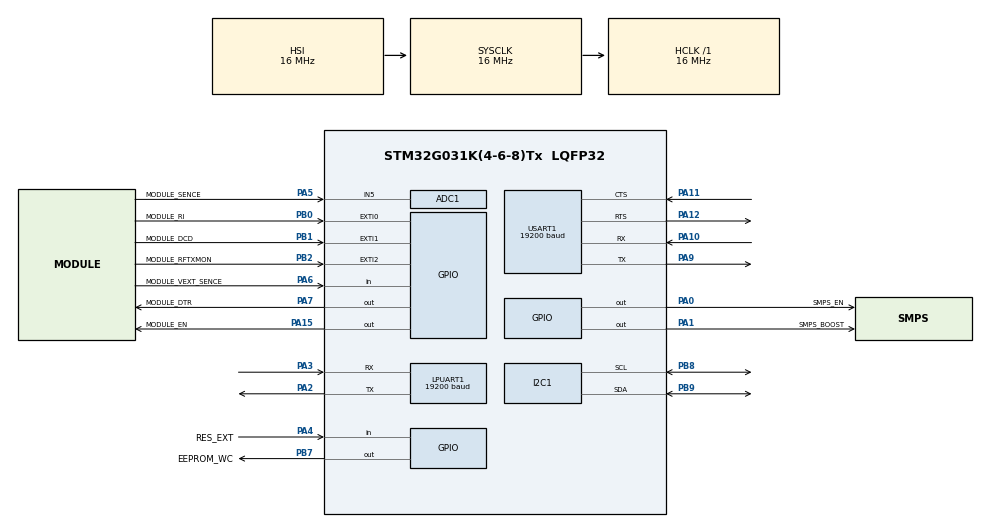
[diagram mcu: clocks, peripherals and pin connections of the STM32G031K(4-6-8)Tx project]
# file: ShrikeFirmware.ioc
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ADC1.Channel-0\#ChannelRegularConversion=ADC_CHANNEL_5
ADC1.EnableAnalogWatchDog1=false
ADC1.NbrOfConversionFlag=1
ADC1.Rank-0\#ChannelRegularConversion=1
ADC1.Resolution=ADC_RESOLUTION_8B
ADC1.SamplingTime-0\#ChannelRegularConversion=ADC_SAMPLINGTIME_COMMON_1
ADC1.SelectedChannel=ADC_CHANNEL_5
ADC1.master=1
LPUART1.BaudRate=19200
LPUART1.WordLength=UART_WORDLENGTH_8B
Mcu.Family=STM32G0
Mcu.Name=STM32G031K(4-6-8)Tx
Mcu.Package=LQFP32
NVIC.EXTI0_1_IRQn=true\:0\:0\:false\:false\:true\:true\:true
NVIC.EXTI2_3_IRQn=true\:0\:0\:false\:false\:true\:true\:true
NVIC.LPTIM1_IRQn=true\:0\:0\:false\:false\:true\:true\:true
NVIC.LPUART1_IRQn=true\:0\:0\:false\:false\:true\:true\:true
NVIC.USART1_IRQn=true\:0\:0\:false\:false\:true\:true\:true
PA0.GPIO_Label=SMPS_EN
PA0.Signal=GPIO_Output
PA1.GPIO_Label=SMPS_BOOST
PA1.Signal=GPIO_Output
PA10.Mode=Asynchronous
PA10.Signal=USART1_RX
PA11\ [PA9].Mode=CTS_RTS
PA11\ [PA9].Signal=USART1_CTS
PA12\ [PA10].Mode=CTS_RTS
PA12\ [PA10].Signal=USART1_RTS
PA13.Mode=Serial_Wire
PA13.Signal=SYS_SWDIO
PA14-BOOT0.Mode=Serial_Wire
PA14-BOOT0.Signal=SYS_SWCLK
PA15.GPIO_Label=MODULE_EN
PA15.Signal=GPIO_Output
PA2.Mode=Asynchronous
PA2.Signal=LPUART1_TX
PA3.Mode=Asynchronous
PA3.Signal=LPUART1_RX
PA4.GPIO_Label=RES_EXT
PA4.Signal=GPIO_Input
PA5.GPIO_Label=MODULE_SENCE
PA5.Mode=IN5
PA5.Signal=ADC1_IN5
PA6.GPIO_Label=MODULE_VEXT_SENCE
PA6.Signal=GPIO_Input
PA7.GPIO_Label=MODULE_DTR
PA7.Signal=GPIO_Output
PA9.Mode=Asynchronous
PA9.Signal=USART1_TX
PB0.GPIO_Label=MODULE_RI
PB0.Signal=GPXTI0
PB1.GPIO_Label=MODULE_DCD
PB1.Signal=GPXTI1
PB2.GPIO_Label=MODULE_RFTXMON
PB2.Signal=GPXTI2
PB5.GPIO_Label=WKUP
PB5.Mode=SYS_WakeUp6
PB5.Signal=SYS_WKUP6
PB7.GPIO_Label=EEPROM_WC
PB7.GPIO_ModeDefaultOutputPP=GPIO_MODE_OUTPUT_OD
PB7.Signal=GPIO_Output
PB8.Mode=I2C
PB8.Signal=I2C1_SCL
PB9.Mode=I2C
PB9.Signal=I2C1_SDA
ProjectManager.HeapSize=0x200
ProjectManager.StackSize=0x400
ProjectManager.TargetToolchain=STM32CubeIDE
RCC.AHBFreq_Value=16000000
RCC.CortexFreq_Value=16000000
RCC.EXTERNAL_CLOCK_VALUE=12288000
RCC.HCLKFreq_Value=16000000
RCC.HSE_VALUE=8000000
RCC.HSI_VALUE=16000000
RCC.LSE_VALUE=32768
RCC.SYSCLKFreq_VALUE=16000000
RCC.VCOOutputFreq_Value=128000000
RCC.VDD_VALUE=2.8
USART1.BaudRate=19200
USART1.VirtualMode-Asynchronous=VM_ASYNC
VP_CRC_VS_CRC.Mode=CRC_Activate
VP_LPTIM1_VS_LPTIM_counterModeInternalClock.Mode=Counts__internal_clock_event_00
board=custom

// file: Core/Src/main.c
/* USER CODE BEGIN Header */
/**
  ******************************************************************************
  * @file           : main.c
  * @brief          : Main program body
  ******************************************************************************
  * @attention
  *
  * <h2><center>&copy; Copyright (c) 2020 STMicroelectronics.
  * All rights reserved.</center></h2>
  *
  * This software component is licensed by ST under BSD 3-Clause license,
  * the "License"; You may not use this file except in compliance with the
  * License. You may obtain a copy of the License at:
  *                        opensource.org/licenses/BSD-3-Clause
  *
  ******************************************************************************
  */
/* USER CODE END Header */
#include "main.h"

/* USER CODE BEGIN Includes */
#include "Shrike.h"
/* USER CODE END Includes */

ADC_HandleTypeDef hadc1;

CRC_HandleTypeDef hcrc;

I2C_HandleTypeDef hi2c1;

LPTIM_HandleTypeDef hlptim1;

UART_HandleTypeDef hlpuart1;
UART_HandleTypeDef huart1;

/* USER CODE BEGIN PV */
static uint8_t MODULE_Rx[1];
static uint8_t EXTERN_Rx[1];

/* USER CODE END PV */

void SystemClock_Config(void);
static void MX_GPIO_Init(void);
static void MX_I2C1_Init(void);
static void MX_LPUART1_UART_Init(void);
static void MX_USART1_UART_Init(void);
static void MX_LPTIM1_Init(void);
static void MX_CRC_Init(void);
static void MX_ADC1_Init(void);

int main(void)
{

  /* MCU Configuration--------------------------------------------------------*/

  /* Reset of all peripherals, Initializes the Flash interface and the Systick. */
  HAL_Init();

  /* Configure the system clock */
  SystemClock_Config();

  /* Initialize all configured peripherals */
  MX_GPIO_Init();
  MX_I2C1_Init();
  MX_LPUART1_UART_Init();
  MX_USART1_UART_Init();
  MX_LPTIM1_Init();
  MX_CRC_Init();
  MX_ADC1_Init();
  /* USER CODE BEGIN 2 */

  /* Configure handles. */
  TPS62140_config(&hadc1);
  M66_Config(&huart1);

  /* Start UART reception. */
  HAL_UART_Receive_IT(&huart1, MODULE_Rx, sizeof(MODULE_Rx));
  HAL_UART_Receive_IT(&hlpuart1, EXTERN_Rx, sizeof(EXTERN_Rx));

  /* TMP */
  M66_PowerOn();

  /* USER CODE END 2 */

  /* Infinite loop */
  while (1)
  {

  }
}

void SystemClock_Config(void)
{
  RCC_OscInitTypeDef RCC_OscInitStruct = {0};
  RCC_ClkInitTypeDef RCC_ClkInitStruct = {0};
  RCC_PeriphCLKInitTypeDef PeriphClkInit = {0};

  /** Configure the main internal regulator output voltage
  */
  HAL_PWREx_ControlVoltageScaling(PWR_REGULATOR_VOLTAGE_SCALE1);
  /** Initializes the RCC Oscillators according to the specified parameters
  * in the RCC_OscInitTypeDef structure.
  */
  RCC_OscInitStruct.OscillatorType = RCC_OSCILLATORTYPE_HSI;
  RCC_OscInitStruct.HSIState = RCC_HSI_ON;
  RCC_OscInitStruct.HSIDiv = RCC_HSI_DIV1;
  RCC_OscInitStruct.HSICalibrationValue = RCC_HSICALIBRATION_DEFAULT;
  RCC_OscInitStruct.PLL.PLLState = RCC_PLL_NONE;
  if (HAL_RCC_OscConfig(&RCC_OscInitStruct) != HAL_OK)
  {
    Error_Handler();
  }
  /** Initializes the CPU, AHB and APB buses clocks
  */
  RCC_ClkInitStruct.ClockType = RCC_CLOCKTYPE_HCLK|RCC_CLOCKTYPE_SYSCLK
                              |RCC_CLOCKTYPE_PCLK1;
  RCC_ClkInitStruct.SYSCLKSource = RCC_SYSCLKSOURCE_HSI;
  RCC_ClkInitStruct.AHBCLKDivider = RCC_SYSCLK_DIV1;
  RCC_ClkInitStruct.APB1CLKDivider = RCC_HCLK_DIV1;

  if (HAL_RCC_ClockConfig(&RCC_ClkInitStruct, FLASH_LATENCY_0) != HAL_OK)
  {
    Error_Handler();
  }
  /** Initializes the peripherals clocks
  */
  PeriphClkInit.PeriphClockSelection = RCC_PERIPHCLK_USART1|RCC_PERIPHCLK_LPUART1
                              |RCC_PERIPHCLK_LPTIM1|RCC_PERIPHCLK_I2C1
                              |RCC_PERIPHCLK_ADC;
  PeriphClkInit.Usart1ClockSelection = RCC_USART1CLKSOURCE_PCLK1;
  PeriphClkInit.Lpuart1ClockSelection = RCC_LPUART1CLKSOURCE_PCLK1;
  PeriphClkInit.I2c1ClockSelection = RCC_I2C1CLKSOURCE_PCLK1;
  PeriphClkInit.Lptim1ClockSelection = RCC_LPTIM1CLKSOURCE_PCLK1;
  PeriphClkInit.AdcClockSelection = RCC_ADCCLKSOURCE_SYSCLK;
  if (HAL_RCCEx_PeriphCLKConfig(&PeriphClkInit) != HAL_OK)
  {
    Error_Handler();
  }
}

static void MX_ADC1_Init(void)
{

  ADC_ChannelConfTypeDef sConfig = {0};

  /** Configure the global features of the ADC (Clock, Resolution, Data Alignment and number of conversion)
  */
  hadc1.Instance = ADC1;
  hadc1.Init.ClockPrescaler = ADC_CLOCK_SYNC_PCLK_DIV2;
  hadc1.Init.Resolution = ADC_RESOLUTION_8B;
  hadc1.Init.DataAlign = ADC_DATAALIGN_RIGHT;
  hadc1.Init.ScanConvMode = ADC_SCAN_DISABLE;
  hadc1.Init.EOCSelection = ADC_EOC_SINGLE_CONV;
  hadc1.Init.LowPowerAutoWait = DISABLE;
  hadc1.Init.LowPowerAutoPowerOff = DISABLE;
  hadc1.Init.ContinuousConvMode = DISABLE;
  hadc1.Init.NbrOfConversion = 1;
  hadc1.Init.DiscontinuousConvMode = DISABLE;
  hadc1.Init.ExternalTrigConv = ADC_SOFTWARE_START;
  hadc1.Init.ExternalTrigConvEdge = ADC_EXTERNALTRIGCONVEDGE_NONE;
  hadc1.Init.DMAContinuousRequests = DISABLE;
  hadc1.Init.Overrun = ADC_OVR_DATA_PRESERVED;
  hadc1.Init.SamplingTimeCommon1 = ADC_SAMPLETIME_1CYCLE_5;
  hadc1.Init.SamplingTimeCommon2 = ADC_SAMPLETIME_1CYCLE_5;
  hadc1.Init.OversamplingMode = DISABLE;
  hadc1.Init.TriggerFrequencyMode = ADC_TRIGGER_FREQ_HIGH;
  if (HAL_ADC_Init(&hadc1) != HAL_OK)
  {
    Error_Handler();
  }
  /** Configure Regular Channel
  */
  sConfig.Channel = ADC_CHANNEL_5;
  sConfig.Rank = ADC_REGULAR_RANK_1;
  sConfig.SamplingTime = ADC_SAMPLINGTIME_COMMON_1;
  if (HAL_ADC_ConfigChannel(&hadc1, &sConfig) != HAL_OK)
  {
    Error_Handler();
  }

}

static void MX_CRC_Init(void)
{

  hcrc.Instance = CRC;
  hcrc.Init.DefaultPolynomialUse = DEFAULT_POLYNOMIAL_ENABLE;
  hcrc.Init.DefaultInitValueUse = DEFAULT_INIT_VALUE_ENABLE;
  hcrc.Init.InputDataInversionMode = CRC_INPUTDATA_INVERSION_NONE;
  hcrc.Init.OutputDataInversionMode = CRC_OUTPUTDATA_INVERSION_DISABLE;
  hcrc.InputDataFormat = CRC_INPUTDATA_FORMAT_BYTES;
  if (HAL_CRC_Init(&hcrc) != HAL_OK)
  {
    Error_Handler();
  }

}

static void MX_I2C1_Init(void)
{

  hi2c1.Instance = I2C1;
  hi2c1.Init.Timing = 0x00303D5B;
  hi2c1.Init.OwnAddress1 = 0;
  hi2c1.Init.AddressingMode = I2C_ADDRESSINGMODE_7BIT;
  hi2c1.Init.DualAddressMode = I2C_DUALADDRESS_DISABLE;
  hi2c1.Init.OwnAddress2 = 0;
  hi2c1.Init.OwnAddress2Masks = I2C_OA2_NOMASK;
  hi2c1.Init.GeneralCallMode = I2C_GENERALCALL_DISABLE;
  hi2c1.Init.NoStretchMode = I2C_NOSTRETCH_DISABLE;
  if (HAL_I2C_Init(&hi2c1) != HAL_OK)
  {
    Error_Handler();
  }
  /** Configure Analogue filter
  */
  if (HAL_I2CEx_ConfigAnalogFilter(&hi2c1, I2C_ANALOGFILTER_ENABLE) != HAL_OK)
  {
    Error_Handler();
  }
  /** Configure Digital filter
  */
  if (HAL_I2CEx_ConfigDigitalFilter(&hi2c1, 0) != HAL_OK)
  {
    Error_Handler();
  }

}

static void MX_LPTIM1_Init(void)
{

  hlptim1.Instance = LPTIM1;
  hlptim1.Init.Clock.Source = LPTIM_CLOCKSOURCE_APBCLOCK_LPOSC;
  hlptim1.Init.Clock.Prescaler = LPTIM_PRESCALER_DIV1;
  hlptim1.Init.Trigger.Source = LPTIM_TRIGSOURCE_SOFTWARE;
  hlptim1.Init.OutputPolarity = LPTIM_OUTPUTPOLARITY_HIGH;
  hlptim1.Init.UpdateMode = LPTIM_UPDATE_IMMEDIATE;
  hlptim1.Init.CounterSource = LPTIM_COUNTERSOURCE_INTERNAL;
  hlptim1.Init.Input1Source = LPTIM_INPUT1SOURCE_GPIO;
  hlptim1.Init.Input2Source = LPTIM_INPUT2SOURCE_GPIO;
  if (HAL_LPTIM_Init(&hlptim1) != HAL_OK)
  {
    Error_Handler();
  }

}

static void MX_LPUART1_UART_Init(void)
{

  hlpuart1.Instance = LPUART1;
  hlpuart1.Init.BaudRate = 19200;
  hlpuart1.Init.WordLength = UART_WORDLENGTH_8B;
  hlpuart1.Init.StopBits = UART_STOPBITS_1;
  hlpuart1.Init.Parity = UART_PARITY_NONE;
  hlpuart1.Init.Mode = UART_MODE_TX_RX;
  hlpuart1.Init.HwFlowCtl = UART_HWCONTROL_NONE;
  hlpuart1.Init.OneBitSampling = UART_ONE_BIT_SAMPLE_DISABLE;
  hlpuart1.Init.ClockPrescaler = UART_PRESCALER_DIV1;
  hlpuart1.AdvancedInit.AdvFeatureInit = UART_ADVFEATURE_NO_INIT;
  hlpuart1.FifoMode = UART_FIFOMODE_DISABLE;
  if (HAL_UART_Init(&hlpuart1) != HAL_OK)
  {
    Error_Handler();
  }
  if (HAL_UARTEx_SetTxFifoThreshold(&hlpuart1, UART_TXFIFO_THRESHOLD_1_8) != HAL_OK)
  {
    Error_Handler();
  }
  if (HAL_UARTEx_SetRxFifoThreshold(&hlpuart1, UART_RXFIFO_THRESHOLD_1_8) != HAL_OK)
  {
    Error_Handler();
  }
  if (HAL_UARTEx_DisableFifoMode(&hlpuart1) != HAL_OK)
  {
    Error_Handler();
  }

}

static void MX_USART1_UART_Init(void)
{

  huart1.Instance = USART1;
  huart1.Init.BaudRate = 19200;
  huart1.Init.WordLength = UART_WORDLENGTH_8B;
  huart1.Init.StopBits = UART_STOPBITS_1;
  huart1.Init.Parity = UART_PARITY_NONE;
  huart1.Init.Mode = UART_MODE_TX_RX;
  huart1.Init.HwFlowCtl = UART_HWCONTROL_RTS_CTS;
  huart1.Init.OverSampling = UART_OVERSAMPLING_16;
  huart1.Init.OneBitSampling = UART_ONE_BIT_SAMPLE_DISABLE;
  huart1.Init.ClockPrescaler = UART_PRESCALER_DIV1;
  huart1.AdvancedInit.AdvFeatureInit = UART_ADVFEATURE_NO_INIT;
  if (HAL_UART_Init(&huart1) != HAL_OK)
  {
    Error_Handler();
  }
  if (HAL_UARTEx_SetTxFifoThreshold(&huart1, UART_TXFIFO_THRESHOLD_1_8) != HAL_OK)
  {
    Error_Handler();
  }
  if (HAL_UARTEx_SetRxFifoThreshold(&huart1, UART_RXFIFO_THRESHOLD_1_8) != HAL_OK)
  {
    Error_Handler();
  }
  if (HAL_UARTEx_DisableFifoMode(&huart1) != HAL_OK)
  {
    Error_Handler();
  }

}

static void MX_GPIO_Init(void)
{
  GPIO_InitTypeDef GPIO_InitStruct = {0};

  /* GPIO Ports Clock Enable */
  __HAL_RCC_GPIOB_CLK_ENABLE();
  __HAL_RCC_GPIOA_CLK_ENABLE();

  /*Configure GPIO pin Output Level */
  HAL_GPIO_WritePin(GPIOA, SMPS_EN_Pin|SMPS_BOOST_Pin|MODULE_DTR_Pin|MODULE_EN_Pin, GPIO_PIN_RESET);

  /*Configure GPIO pin Output Level */
  HAL_GPIO_WritePin(EEPROM_WC_GPIO_Port, EEPROM_WC_Pin, GPIO_PIN_RESET);

  /*Configure GPIO pins : SMPS_EN_Pin SMPS_BOOST_Pin MODULE_DTR_Pin MODULE_EN_Pin */
  GPIO_InitStruct.Pin = SMPS_EN_Pin|SMPS_BOOST_Pin|MODULE_DTR_Pin|MODULE_EN_Pin;
  GPIO_InitStruct.Mode = GPIO_MODE_OUTPUT_PP;
  GPIO_InitStruct.Pull = GPIO_NOPULL;
  GPIO_InitStruct.Speed = GPIO_SPEED_FREQ_LOW;
  HAL_GPIO_Init(GPIOA, &GPIO_InitStruct);

  /*Configure GPIO pins : RES_EXT_Pin MODULE_VEXT_SENCE_Pin */
  GPIO_InitStruct.Pin = RES_EXT_Pin|MODULE_VEXT_SENCE_Pin;
  GPIO_InitStruct.Mode = GPIO_MODE_INPUT;
  GPIO_InitStruct.Pull = GPIO_NOPULL;
  HAL_GPIO_Init(GPIOA, &GPIO_InitStruct);

  /*Configure GPIO pins : MODULE_RI_Pin MODULE_DCD_Pin MODULE_RFTXMON_Pin */
  GPIO_InitStruct.Pin = MODULE_RI_Pin|MODULE_DCD_Pin|MODULE_RFTXMON_Pin;
  GPIO_InitStruct.Mode = GPIO_MODE_IT_RISING;
  GPIO_InitStruct.Pull = GPIO_NOPULL;
  HAL_GPIO_Init(GPIOB, &GPIO_InitStruct);

  /*Configure GPIO pin : EEPROM_WC_Pin */
  GPIO_InitStruct.Pin = EEPROM_WC_Pin;
  GPIO_InitStruct.Mode = GPIO_MODE_OUTPUT_OD;
  GPIO_InitStruct.Pull = GPIO_NOPULL;
  GPIO_InitStruct.Speed = GPIO_SPEED_FREQ_LOW;
  HAL_GPIO_Init(EEPROM_WC_GPIO_Port, &GPIO_InitStruct);

  /* EXTI interrupt init*/
  HAL_NVIC_SetPriority(EXTI0_1_IRQn, 0, 0);
  HAL_NVIC_EnableIRQ(EXTI0_1_IRQn);

  HAL_NVIC_SetPriority(EXTI2_3_IRQn, 0, 0);
  HAL_NVIC_EnableIRQ(EXTI2_3_IRQn);

}

/* USER CODE BEGIN 4 */

/**
 * @brief	UART Recieve ISR
 * @param 	huart:	UART line that recieved a message
 * @retval	None
 */
void HAL_UART_RxCpltCallback(UART_HandleTypeDef *huart){
	if(huart == &huart1){
		/* Module Sent Message: Run ISR */
		MCU_UART_Rx_MODULE_ISR(MODULE_Rx);

		/* Reset receive on M66 */
		HAL_UART_Receive_IT(&huart1, MODULE_Rx, sizeof(MODULE_Rx));
	}
	else{
		/* Ext Sent Message: Run ISR */
		MCU_UART_Rx_EXTERN_ISR(EXTERN_Rx);

		/* Reset receive on Ext */
		HAL_UART_Receive_IT(&hlpuart1, EXTERN_Rx, sizeof(EXTERN_Rx));
	}
}

/* USER CODE END 4 */

void Error_Handler(void)
{
}

/************************ (C) COPYRIGHT STMicroelectronics *****END OF FILE****/
